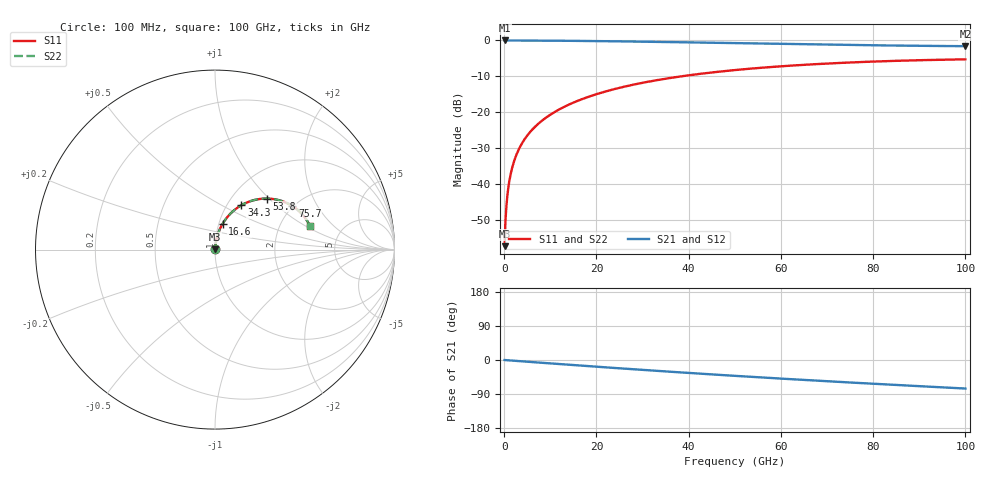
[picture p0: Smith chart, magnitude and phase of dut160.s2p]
! Touchstone file exported from HFSS 2026.1.0
!  File:  C:/ffzhzh/LocalFiles/Ansys_Project_Files/temp_train_RDL_160_1783500069_31944.aedt
!  Generated:  04:42:16 PM Jul  8, 2026
!  Design:  RDL
!  Project:  temp_train_RDL_160_1783500069_31944
! Variables:
!  h_bsmrdl = 2um
!  h_ox = 20um
!  h_rdl = 5um
!  h_sub = 80um
!  h_tmrdl = 4.99um
!  h_tsv = 80um
!  h_via = 3um
!  l_bsmrdl = 300um
!  l_sub = 621.66um
!  l_tmrdl = 221.66um
!  m_sub = 200um
!  pitch = 50.93um
!  r_tsv = 6um
!  s_tmrdl = 10um
!  w_bsmrdl = 18um
!  w_sub = 500um
!  w_tmrdl = 22.05um
!  x_tsv_center1 = 232.685um
!  x_tsv_center2 = 550.685um
!  x_tsv_center3 = 794.395um
!  x_tsv_center4 = 1112.395um
!  x_tsv_center5 = 1356.105um
!  x_tsv_center6 = 1674.105um
# GHz S MA R 50.000000
! Terminal data exported
! Port[1] = TM_RDL1_1_T1
! Port[2] = TM_RDL1_1_T2
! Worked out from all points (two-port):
!   1000 points, 100 MHz to 100 GHz, reference 50 ohm
!   highest |S21| = -0.01 dB at 100 MHz (marker M1); lowest = -1.6 dB at 100 GHz (marker M2)
!   |S21| within 3 dB of the highest: start of sweep to end of sweep
!   lowest |S11| = -57.4 dB at 100 MHz (marker M3), VSWR 1.00, Z = 50.1 + j0.103 ohm
!   |S11| at or under -10 dB: start of sweep to 38.51 GHz
!   |S22| runs from -57.4 to -5.3 dB; largest |S21 - S12| = 1.1e-14
!   S11 on the Smith chart (normalised r, x): 100 MHz: 1.00, +0.00; 16.6 GHz: 1.04, +0.31; 34.3 GHz: 1.16, +0.63; 53.8 GHz: 1.43, +0.97; 75.7 GHz: 1.97, +1.27; 100 GHz: 2.93, +1.10
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0.1  0.001347 49.9  0.9991 -0.1  0.9991 -0.1  0.001347 49.9
! Gamma 0 0 0 0
! Port Impedance 50 0 50 0
0.4  0.004056 75.4  0.999 -0.4  0.999 -0.4  0.004056 75.4
0.8  0.007808 81.4  0.9989 -0.7  0.9989 -0.7  0.007808 81.4
1.1  0.01065 82.9  0.9988 -1.0  0.9988 -1.0  0.01065 82.9
1.4  0.0135 83.7  0.9987 -1.3  0.9987 -1.3  0.0135 83.7
1.9  0.01823 84.2  0.9985 -1.7  0.9985 -1.7  0.01823 84.2
2.4  0.02294 84.2  0.9983 -2.2  0.9983 -2.2  0.02294 84.2
3.8  0.03599 83.6  0.9975 -3.5  0.9975 -3.5  0.03599 83.6
5.9  0.05519 82.1  0.996 -5.3  0.996 -5.3  0.05519 82.1
8.7  0.08037 80.0  0.9937 -7.8  0.9937 -7.8  0.08036 80.0
12.2  0.1113 77.2  0.9901 -10.9  0.9901 -10.9  0.1113 77.2
16.6  0.1492 73.6  0.9846 -14.7  0.9846 -14.7  0.1492 73.6
16.8  0.1509 73.5  0.9843 -14.9  0.9843 -14.9  0.1509 73.5
24.2  0.2117 67.4  0.9723 -21.2  0.9723 -21.2  0.2117 67.4
33.4  0.2811 60.0  0.954 -28.9  0.954 -28.9  0.2811 60.0
34.3  0.2874 59.3  0.952 -29.6  0.952 -29.6  0.2874 59.3
50.1  0.3863 47.2  0.9159 -41.9  0.9159 -41.9  0.3863 47.2
53.8  0.4058 44.5  0.9074 -44.6  0.9074 -44.6  0.4058 44.5
66.7  0.4635 35.4  0.8794 -53.8  0.8794 -53.8  0.4634 35.5
75.7  0.4945 29.4  0.8623 -59.8  0.8623 -59.8  0.4945 29.5
83.4  0.5155 24.5  0.85 -64.9  0.85 -64.9  0.5155 24.6
100  0.5446 14.1  0.8316 -75.3  0.8316 -75.3  0.5445 14.2
